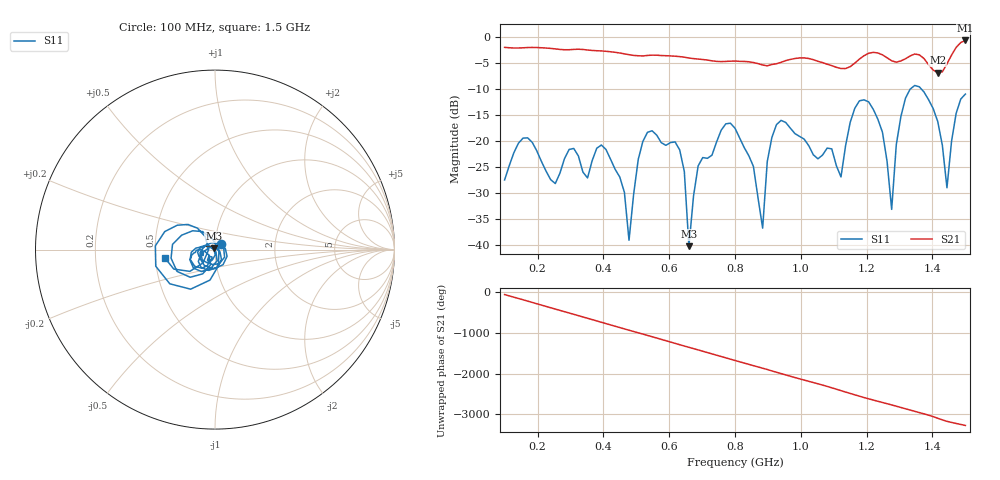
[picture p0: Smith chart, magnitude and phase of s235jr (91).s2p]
! NanoVNA-App
! Date: 2025-09-25 15:04:52
! Start: 100MHz Stop: 1,5GHz Points: 101
! S-Parameter data: F S11 S21 S12 S22
# Hz S RI R 50
!  Frequency  S11_Real  S11_Imag  S21_Real  S21_Imag  S12_Real  S12_Imag  S22_Real  S22_Imag
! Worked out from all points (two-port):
!   101 points, 100 MHz to 1.5 GHz, reference 50 ohm
!   highest |S21| = -0.63 dB at 1.5 GHz (marker M1); lowest = -6.8 dB at 1.416 GHz (marker M2)
!   |S21| within 3 dB of the highest: start of sweep to 609.8 MHz; 1.191 GHz to 1.254 GHz (62.97 MHz wide, 5.15 % of centre) (the widest 2 of 4)
!   lowest |S11| = -40.2 dB at 660 MHz (marker M3), VSWR 1.02, Z = 49.3 + j0.647 ohm
!   |S11| at or under -10 dB: start of sweep to 1.332 GHz; 1.366 GHz to end of sweep
!   S12 and S22 are empty: the file has one direction only
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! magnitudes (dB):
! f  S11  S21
! 100 MHz  -27.5  -2.0
! 156 MHz  -19.4  -2.0
! 338 MHz  -26.0  -2.4
! 408 MHz  -21.6  -2.7
! 478 MHz  -39.1  -3.4
! 520 MHz  -20.1  -3.6
! 576 MHz  -20.3  -3.5
! 632 MHz  -21.7  -3.7
! 660 MHz  -40.2  -4.0
! 688 MHz  -24.8  -4.2
! 800 MHz  -17.5  -4.6
! 884 MHz  -36.8  -5.4
! 926 MHz  -16.8  -5.1
! 1.038 GHz  -22.6  -4.3
! 1.122 GHz  -26.9  -6.0
! 1.206 GHz  -12.5  -3.1
! 1.276 GHz  -33.2  -4.5
! 1.29 GHz  -20.7  -4.8
! 1.332 GHz  -10.0  -3.6
! 1.416 GHz  -16.2  -6.8
! 1.444 GHz  -29.0  -5.1
! 1.5 GHz  -11.0  -0.6
